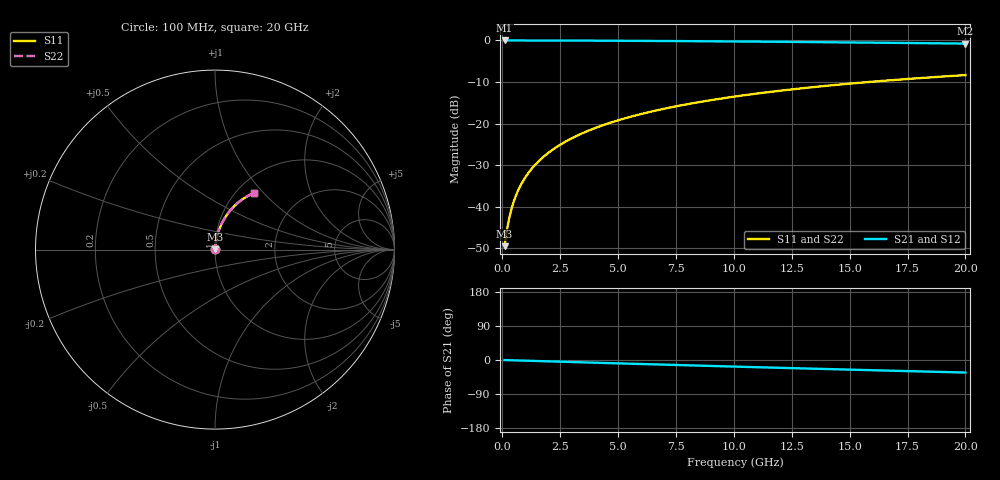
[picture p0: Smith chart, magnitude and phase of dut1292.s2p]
! Touchstone file exported from HFSS 2026.1.0
!  File:  C:/ffzhzh/LocalFiles/Ansys_Project_Files/temp_train_TMRDL_1292_1783164540_22436.aedt
!  Generated:  07:30:16 PM Jul  4, 2026
!  Design:  TMRDL
!  Project:  temp_train_TMRDL_1292_1783164540_22436
! Variables:
!  h_bsmrdl = 2um
!  h_ox = 20um
!  h_rdl = 5um
!  h_sub = 80um
!  h_tmrdl = 4.76um
!  h_tsv = 80um
!  h_via = 3um
!  l_bsmrdl = 300um
!  l_sub = 813.55um
!  l_tmrdl = 413.55um
!  m_sub = 200um
!  pitch = 50.02um
!  r_tsv = 6um
!  s_tmrdl = 10um
!  w_bsmrdl = 18um
!  w_sub = 500um
!  w_tmrdl = 13.12um
!  x_tsv_center1 = 420.11um
!  x_tsv_center2 = 738.11um
!  x_tsv_center3 = 1164.78um
!  x_tsv_center4 = 1482.78um
!  x_tsv_center5 = 1909.45um
!  x_tsv_center6 = 2227.45um
# GHz S MA R 50.000000
! Terminal data exported
! Port[1] = TM_RDL1_1_T1
! Port[2] = TM_RDL1_1_T2
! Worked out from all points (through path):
!   200 points, 100 MHz to 20 GHz, reference 50 ohm
!   highest |S21| = -0.02 dB at 100 MHz (marker M1); lowest = -0.8 dB at 20 GHz (marker M2)
!   group delay of S21, straight-line fit = 4.6 ps
!   lowest |S11| = -49.5 dB at 100 MHz (marker M3), VSWR 1.01, Z = 50.2 + j0.232 ohm
!   |S11| at or under -10 dB: start of sweep to 15.84 GHz
!   |S22| runs from -49.5 to -8.4 dB; largest |S21 - S12| = 2e-15
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0.1  0.003355 43.4  0.9976 -0.2  0.9976 -0.2  0.003355 43.4
! Gamma 0 0 0 0
! Port Impedance 50 0 50 0
0.2  0.005234 61.4  0.9975 -0.4  0.9975 -0.4  0.005234 61.4
0.3  0.007336 69.2  0.9974 -0.6  0.9974 -0.6  0.007337 69.2
0.4  0.009497 73.4  0.9974 -0.7  0.9974 -0.7  0.009498 73.4
0.5  0.01168 76.0  0.9973 -0.9  0.9973 -0.9  0.01168 76.0
0.6  0.01386 77.7  0.9972 -1.1  0.9972 -1.1  0.01386 77.7
0.8  0.01825 79.8  0.9971 -1.4  0.9971 -1.4  0.01825 79.8
1.1  0.02484 81.3  0.9968 -2.0  0.9968 -2.0  0.02485 81.3
1.5  0.03366 82.1  0.9965 -2.7  0.9965 -2.7  0.03366 82.1
1.8  0.04026 82.3  0.9961 -3.2  0.9961 -3.2  0.04026 82.3
2.1  0.04686 82.2  0.9957 -3.8  0.9957 -3.8  0.04686 82.2
2.7  0.05999 81.8  0.9947 -4.8  0.9947 -4.8  0.05999 81.8
3.5  0.07736 80.8  0.9931 -6.3  0.9931 -6.3  0.07736 80.8
4.2  0.0924 79.8  0.9914 -7.5  0.9914 -7.5  0.0924 79.8
5  0.1094 78.6  0.9892 -8.9  0.9892 -8.9  0.1094 78.6
5.9  0.1282 77.2  0.9865 -10.5  0.9865 -10.5  0.1282 77.2
6.8  0.1468 75.8  0.9834 -12.0  0.9834 -12.0  0.1468 75.8
8.3  0.1771 73.4  0.9778 -14.5  0.9778 -14.5  0.1771 73.4
10.1  0.2123 70.5  0.97 -17.6  0.97 -17.6  0.2123 70.5
13.4  0.2737 65.4  0.9537 -22.9  0.9537 -22.9  0.2737 65.3
16.7  0.3305 60.4  0.935 -28.1  0.935 -28.1  0.3305 60.3
20  0.3823 55.5  0.9147 -33.1  0.9147 -33.1  0.3823 55.5
